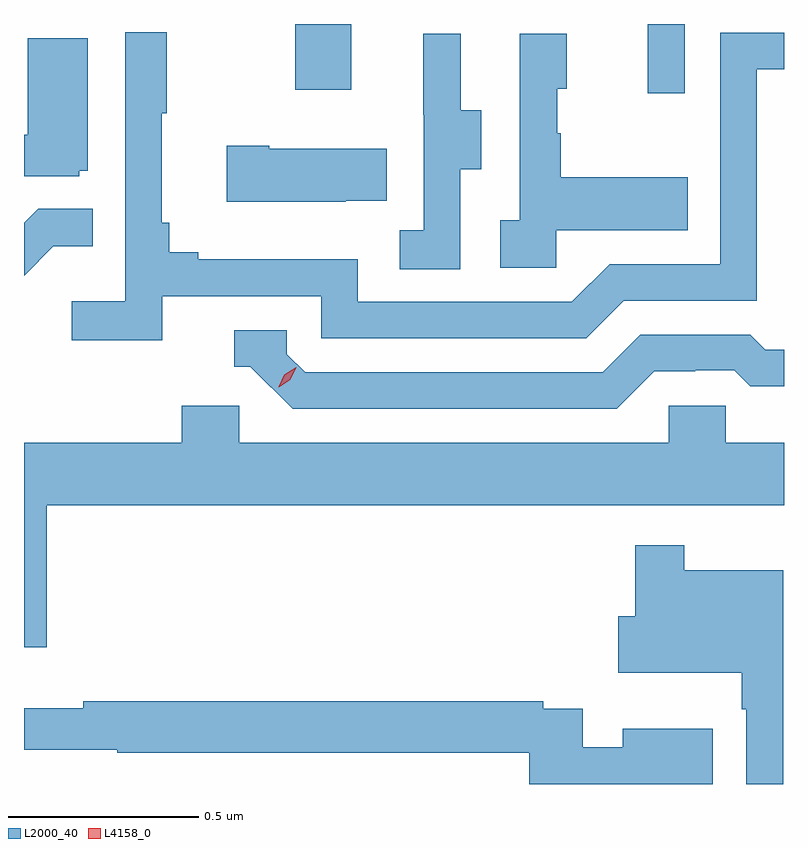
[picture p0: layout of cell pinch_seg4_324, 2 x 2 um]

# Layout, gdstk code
import gdstk
lib = gdstk.Library(unit=1e-6, precision=1e-09)
def R(c, l, rs):  # rectangles x0, y0, x1, y1
    for r in rs: c.add(gdstk.rectangle(r[:2], r[2:], *l))
def P(c, l, *ps):  # polygons
    for p in ps: c.add(gdstk.Polygon(p, *l))
L2000_40 = (2000, 40)
L4158_0 = (4158, 0)

pinch_seg4_324 = lib.new_cell('pinch_seg4_324')
R(pinch_seg4_324, L2000_40, [(921.998,797.904,922.095,798.086), (921.07,797.913,921.217,798.086)])
P(pinch_seg4_324, L2000_40, [(920.72,797.37),(921.138,797.37),(921.138,797.259),(921.835,797.259),(921.934,797.358),(922.284,797.358),(922.284,797.967),(922.356,797.967),(922.356,798.063),(922.188,798.063),(922.188,797.454),(921.897,797.454),(921.798,797.355),(921.234,797.355),(921.234,797.467),(920.815,797.467),(920.815,797.486),(920.738,797.486),(920.738,797.563),(920.719,797.563),(920.719,797.851),(920.731,797.851),(920.731,798.064),(920.622,798.064),(920.622,797.356),(920.481,797.356),(920.481,797.254),(920.72,797.254)],
  [(921.504,797.704),(921.559,797.704),(921.559,797.859),(921.505,797.859),(921.505,798.061),(921.407,798.061),(921.407,797.847),(921.408,797.847),(921.408,797.543),(921.345,797.543),(921.345,797.44),(921.504,797.44)],
  [(921.756,797.543),(922.103,797.543),(922.103,797.683),(921.769,797.683),(921.769,797.798),(921.759,797.798),(921.759,797.916),(921.784,797.916),(921.784,798.061),(921.66,798.061),(921.66,797.57),(921.609,797.57),(921.609,797.445),(921.756,797.445)],
  [(920.502,797.7),(920.524,797.7),(920.524,798.049),(920.366,798.049),(920.366,797.794),(920.356,797.794),(920.356,797.685),(920.502,797.685)],
  [(921.203,797.621),(921.311,797.621),(921.311,797.758),(921.001,797.758),(921.001,797.766),(920.889,797.766),(920.889,797.618),(921.203,797.618)],
  [(920.433,797.501),(920.537,797.501),(920.537,797.6),(920.393,797.6),(920.356,797.563),(920.356,797.424)],
  [(922.015,797.172),(922.122,797.172),(922.122,797.175),(922.225,797.175),(922.267,797.133),(922.356,797.133),(922.356,797.229),(922.306,797.229),(922.267,797.268),(921.978,797.268),(921.879,797.169),(921.096,797.169),(921.048,797.217),(921.048,797.28),(920.909,797.28),(920.909,797.184),(920.952,797.184),(921.063,797.073),(921.916,797.073)],
  [(920.416,796.82),(922.356,796.82),(922.356,796.984),(922.203,796.984),(922.203,797.082),(922.053,797.082),(922.053,796.984),(920.922,796.984),(920.922,797.082),(920.771,797.082),(920.771,796.984),(920.356,796.984),(920.356,796.446),(920.416,796.446)],
  [(922.354,796.648),(922.093,796.648),(922.093,796.714),(921.964,796.714),(921.964,796.527),(921.92,796.527),(921.92,796.379),(922.245,796.379),(922.245,796.283),(922.257,796.283),(922.257,796.086),(922.354,796.086)],
  [(922.168,796.231),(921.932,796.231),(921.932,796.183),(921.826,796.183),(921.826,796.284),(921.722,796.284),(921.722,796.304),(920.512,796.304),(920.512,796.285),(920.356,796.285),(920.356,796.176),(920.602,796.176),(920.602,796.168),(921.686,796.168),(921.686,796.086),(922.168,796.086)])
P(pinch_seg4_324, L4158_0, [(921.026,797.13),(921.026,797.131),(921.041,797.163),(921.072,797.183),(921.072,797.183),(921.072,797.183),(921.056,797.15),(921.026,797.13)])

lib.write_gds('pinch_seg4_324.gds')
